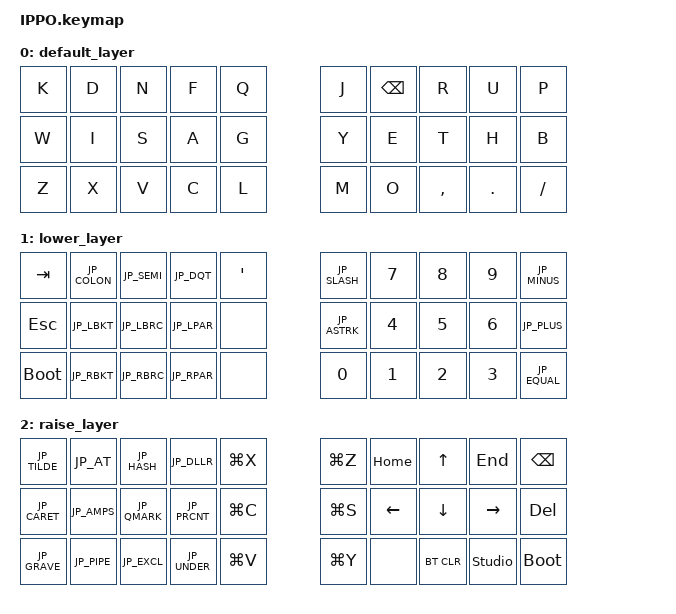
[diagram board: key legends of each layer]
#define ZMK_BEHAVIORS_OMIT_KT

#undef ZMK_BEHAVIORS_KEEP_ALL

#define ZMK_BEHAVIORS_KEEP_SK
#define ZMK_BEHAVIORS_KEEP_MT
#define ZMK_BEHAVIORS_KEEP_KT

#include <behaviors.dtsi>
#include <dt-bindings/zmk/keys.h>
#include <dt-bindings/zmk/bt.h>
#include <dt-bindings/zmk/outputs.h>
#include "keycode_japanese.h"

#define DEFAULT  0
#define LOWER    1
#define RAISE    2

#define CONFIG_ZMK_MACRO_DEFAULT_WAIT_MS 40
#define CONFIG_ZMK_MACRO_DEFAULT_TAP_MS 40

/ {
    keymap {
        compatible = "zmk,keymap";

        default_layer {
            bindings = <
            // +----------+----------+----------+----------+----------+----------+----------+----------+----------+----------
                &kp K      &kp D      &kp N      &kp F      &kp Q      &kp J      &kp BSPC   &kp R      &kp U      &kp P
                &kp W      &kp I      &kp S      &kp A      &kp G      &kp Y      &kp E      &kp T      &kp H      &kp B
                &kp Z      &kp X      &kp V      &kp C      &kp L      &kp M      &kp O      &kp COMMA  &kp DOT    &kp SLASH
                >;
        };

        lower_layer {
            bindings = <
            // +-----------+-----------+-----------+-----------+-----------+-----------+-----------+-----------+-----------+----------
                &kp TAB     &kp JP_COLON  &kp JP_SEMI   &kp JP_DQT    &kp SQT    &kp JP_SLASH  &kp N7     &kp N8     &kp N9     &kp JP_MINUS
                &kp ESC     &kp JP_LBKT   &kp JP_LBRC   &kp JP_LPAR   &none      &kp JP_ASTRK  &kp N4     &kp N5     &kp N6     &kp JP_PLUS
               &bootloader  &kp JP_RBKT   &kp JP_RBRC   &kp JP_RPAR   &none      &kp N0        &kp N1     &kp N2     &kp N3     &kp JP_EQUAL     
                >;
        };

        raise_layer {
            bindings = <
            // +----------+----------+----------+----------+----------+----------+----------+----------+----------+----------
                &kp JP_TILDE  &kp JP_AT     &kp JP_HASH   &kp JP_DLLR   &kp LG(X)  &kp LG(Z)   &kp HOME   &kp UP     &kp END    &kp BSPC
                &kp JP_CARET  &kp JP_AMPS   &kp JP_QMARK  &kp JP_PRCNT  &kp LG(C)  &kp LG(S)   &kp LEFT   &kp DOWN   &kp RIGHT  &kp DEL
                &kp JP_GRAVE  &kp JP_PIPE   &kp JP_EXCL   &kp JP_UNDER  &kp LG(V)  &kp LG(Y)   &none      &bt BT_CLR &studio_unlock &bootloader
                >;
        };

    };
};
